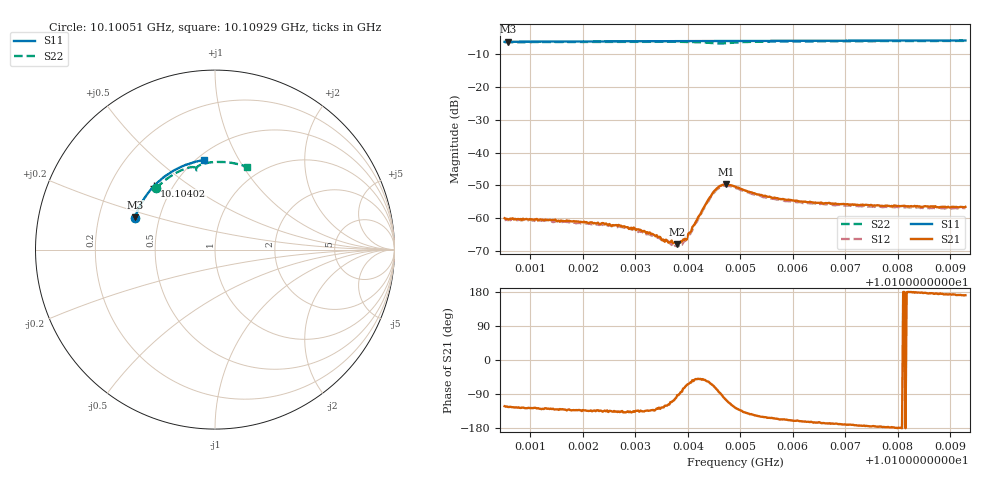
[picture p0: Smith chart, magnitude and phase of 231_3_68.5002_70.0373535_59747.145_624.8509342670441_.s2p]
#  HZ  S  RI  R  50.00
! Rohde & Schwarz Vector Network Analyzer
! Rohde-Schwarz,ZNB20-2Port,1311601062101988,3.16
! Created: UTC 3/20/2024, 4:58:57 PM
! freq[Hz]  re:S11  im:S11  re:S21  im:S21  re:S12  im:S12  re:S22  im:S22
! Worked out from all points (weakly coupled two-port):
!   401 points, 10.10051 GHz to 10.10929 GHz, reference 50 ohm
!   highest |S21| = -49.62 dB at 10.10472 GHz (marker M1); lowest = -67.8 dB at 10.1038 GHz (marker M2)
!   lowest |S11| = -6.4 dB at 10.10058 GHz (marker M3), VSWR 2.85, Z = 18.1 + j8.43 ohm
!   |S11| at or under -10 dB: nowhere
!   |S22| runs from -6.9 to -6.1 dB; largest |S21 - S12| = 0.00033
!   S11 on the Smith chart (normalised r, x): 10.10051 GHz: 0.36, +0.17; 10.10402 GHz: 0.40, +0.37; 10.10929 GHz: 0.55, +0.73
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1.0100509e10  -0.4471 0.1755  -0.000533 -0.000855  -0.000469 -0.000821  -0.3282 0.3406
1.0100575e10  -0.4457 0.179  -0.000541 -0.000801  -0.000461 -0.00082  -0.3252 0.3435
1.0101278e10  -0.4301 0.2191  -0.000582 -0.000759  -0.000518 -0.000768  -0.292 0.3747
1.010198e10  -0.4112 0.2574  -0.000622 -0.000625  -0.000533 -0.000657  -0.256 0.4028
1.0102683e10  -0.3887 0.2938  -0.00057 -0.000558  -0.000502 -0.000566  -0.2169 0.4272
1.0102924e10  -0.3801 0.3057  -0.00054 -0.000482  -0.000449 -0.000506  -0.2028 0.4347
1.0103078e10  -0.3748 0.3133  -0.000489 -0.000463  -0.000433 -0.000491  -0.1935 0.4391
1.0103451e10  -0.3606 0.3309  -0.000305 -0.000428  -0.000275 -0.000424  -0.1697 0.4492
1.0103605e10  -0.3545 0.3381  -0.000234 -0.0004  -0.000188 -0.000418  -0.1596 0.453
1.0103802e10  -0.3466 0.3471  -1.73e-05 -0.000409  -2.12e-05 -0.000413  -0.1459 0.4568
1.0103912e10  -0.3422 0.3518  0.000123 -0.000461  0.000137 -0.000407  -0.1377 0.4585
1.0104022e10  -0.3375 0.3568  0.000277 -0.000534  0.000325 -0.000491  -0.1289 0.4596
1.0104329e10  -0.3242 0.3699  0.000963 -0.00126  0.00102 -0.0011  -0.1045 0.4554
1.0104461e10  -0.3182 0.3754  0.000983 -0.0021  0.00113 -0.00195  -0.0977 0.4481
1.0104593e10  -0.3125 0.3806  0.000286 -0.00301  0.000547 -0.00285  -0.0991 0.4415
1.0104724e10  -0.3067 0.3859  -0.000845 -0.0032  -0.000531 -0.00309  -0.1045 0.444
1.01049e10  -0.2986 0.3927  -0.00176 -0.00247  -0.00148 -0.00253  -0.1024 0.4561
1.0105471e10  -0.2712 0.414  -0.00193 -0.00108  -0.00176 -0.00117  -0.0653 0.4781
1.0105888e10  -0.2504 0.4283  -0.00176 -0.000731  -0.00164 -0.000821  -0.0366 0.4843
1.0106371e10  -0.2251 0.4432  -0.00169 -0.000483  -0.00157 -0.000617  -0.00427 0.4879
1.0107842e10  -0.1437 0.479  -0.00155 -5.85e-05  -0.00147 -0.000206  0.0909 0.4835
1.0109291e10  -0.0586 0.4991  -0.00148 0.000237  -0.00144 9.37e-05  0.1806 0.4607
